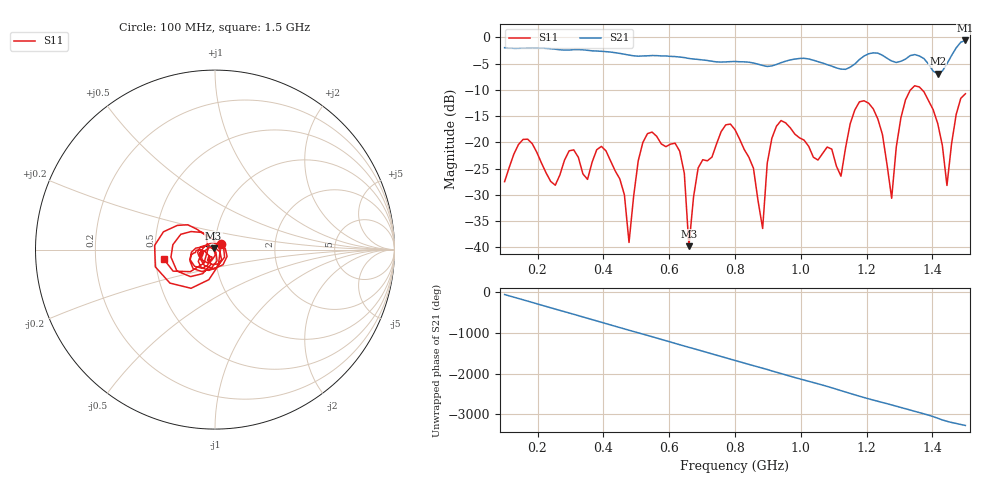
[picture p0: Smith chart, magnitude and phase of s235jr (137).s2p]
! NanoVNA-App
! Date: 2025-09-25 15:05:14
! Start: 100MHz Stop: 1,5GHz Points: 101
! S-Parameter data: F S11 S21 S12 S22
# Hz S RI R 50
!  Frequency  S11_Real  S11_Imag  S21_Real  S21_Imag  S12_Real  S12_Imag  S22_Real  S22_Imag
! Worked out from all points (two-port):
!   101 points, 100 MHz to 1.5 GHz, reference 50 ohm
!   highest |S21| = -0.59 dB at 1.5 GHz (marker M1); lowest = -6.9 dB at 1.416 GHz (marker M2)
!   |S21| within 3 dB of the highest: start of sweep to 598.5 MHz; 1.191 GHz to 1.252 GHz (61.07 MHz wide, 5 % of centre) (the widest 2 of 4)
!   lowest |S11| = -39.8 dB at 660 MHz (marker M3), VSWR 1.02, Z = 49.2 + j0.643 ohm
!   |S11| at or under -10 dB: start of sweep to 1.333 GHz; 1.369 GHz to end of sweep
!   S12 and S22 are empty: the file has one direction only
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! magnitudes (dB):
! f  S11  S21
! 100 MHz  -27.5  -2.0
! 156 MHz  -19.4  -2.0
! 338 MHz  -26.0  -2.4
! 408 MHz  -21.6  -2.7
! 478 MHz  -39.1  -3.4
! 520 MHz  -20.0  -3.5
! 576 MHz  -20.3  -3.5
! 632 MHz  -21.7  -3.7
! 660 MHz  -39.8  -4.0
! 688 MHz  -24.9  -4.2
! 800 MHz  -17.6  -4.6
! 884 MHz  -36.4  -5.4
! 898 MHz  -23.9  -5.5
! 926 MHz  -16.9  -5.2
! 1.038 GHz  -22.8  -4.3
! 1.122 GHz  -26.4  -6.0
! 1.206 GHz  -12.5  -3.1
! 1.276 GHz  -30.7  -4.5
! 1.332 GHz  -10.1  -3.5
! 1.416 GHz  -16.4  -6.9
! 1.444 GHz  -28.2  -5.0
! 1.5 GHz  -10.7  -0.6
